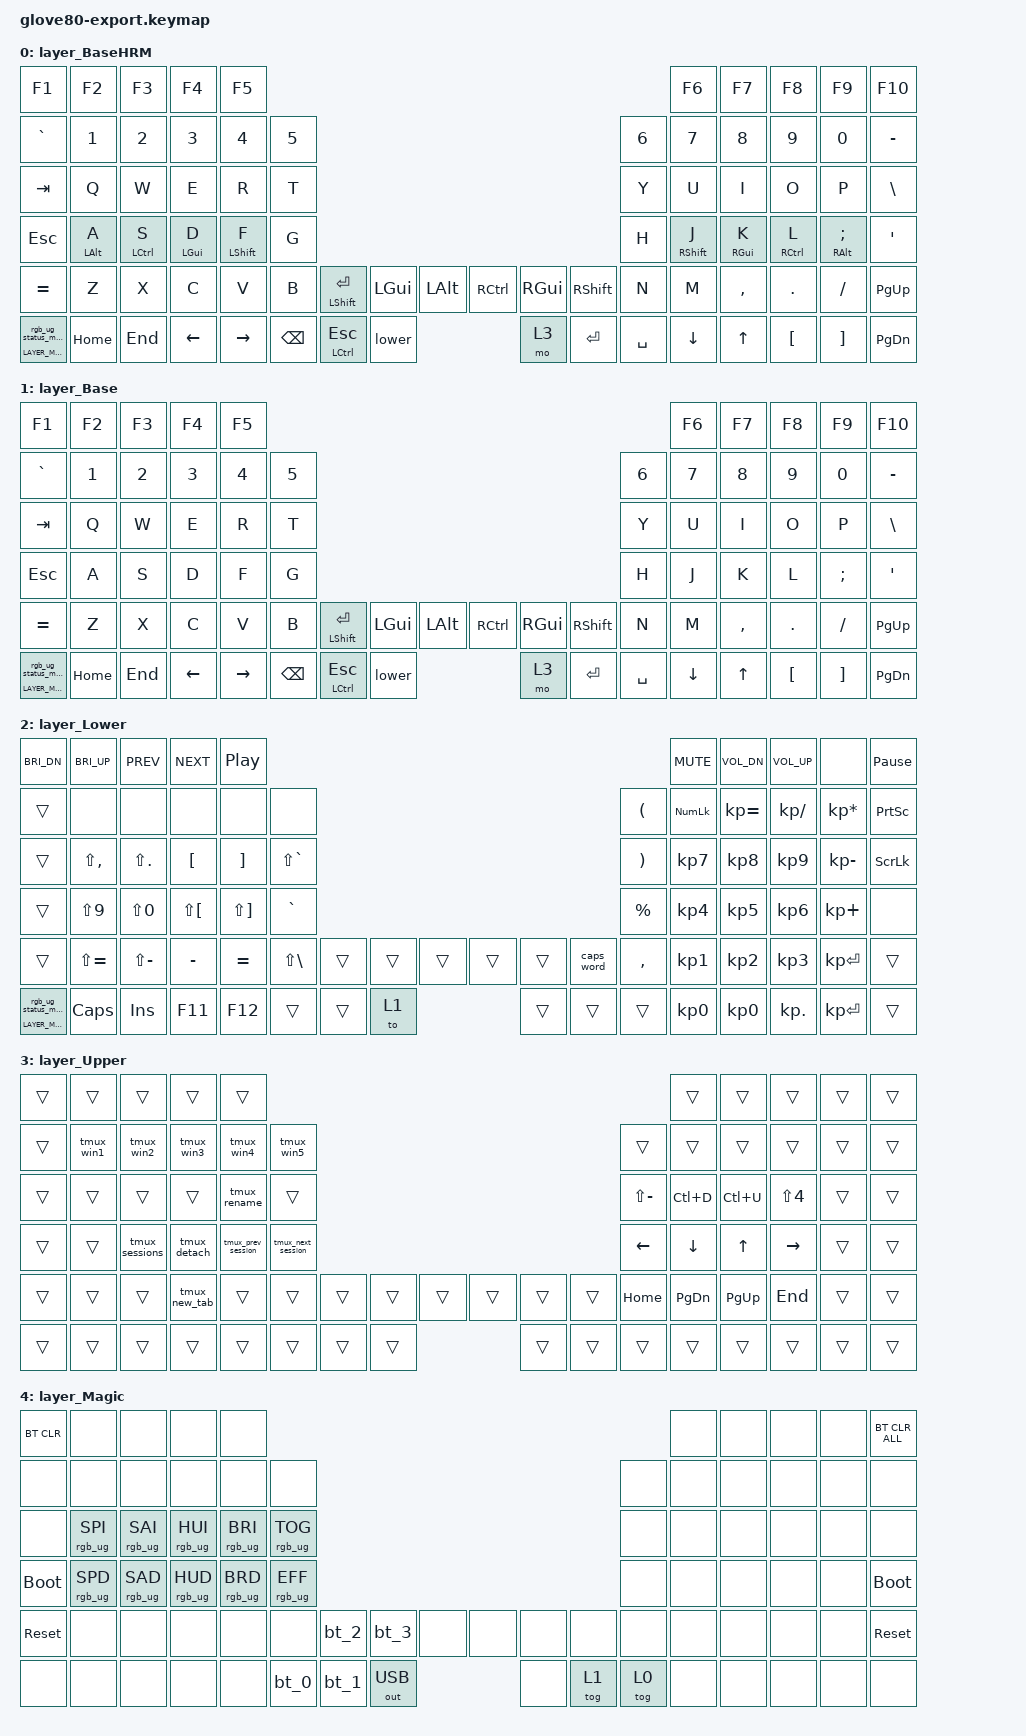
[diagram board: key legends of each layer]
/*
 * Copyright (c) 2020 The ZMK Contributors
 * Copyright (c) 2025 Innaworks Development Limited, trading as MoErgo
 *
 * SPDX-License-Identifier: MIT
 */


/* THIS FILE WAS GENERATED BY GLOVE80 LAYOUT EDITOR
 *
 * This file was generated automatically. You may or may not want to
 * edit it directly.
 */

#include <behaviors.dtsi>
/* Include all behavior includes needed */
#include <dt-bindings/zmk/outputs.h>
#include <dt-bindings/zmk/keys.h>
#include <dt-bindings/zmk/bt.h>
#include <dt-bindings/zmk/rgb.h>

/* On demand includes */


/* Helper Macros, based on https://github.com/urob/zmk-helpers/ */

#pragma once

#define ZMK_HELPER_STRINGIFY(x) #x

// Preprocessor mechanism to overload macros, cf. https://stackoverflow.com/a/27051616/6114651
#define VARGS_(_10, _9, _8, _7, _6, _5, _4, _3, _2, _1, N, ...) N
#define VARGS(...) VARGS_(__VA_ARGS__, 10, 9, 8, 7, 6, 5, 4, 3, 2, 1, 0)
#define CONCAT_(a, b) a##b
#define CONCAT(a, b) CONCAT_(a, b)

#define ZMK_BEHAVIOR_CORE_tap_dance  \
    compatible = "zmk,behavior-tap-dance"; \
    #binding-cells = <0>

#define ZMK_BEHAVIOR(name, type, ...) \
    name: name { \
        ZMK_BEHAVIOR_CORE_ ## type; \
        __VA_ARGS__ \
    };

#define ZMK_TAP_DANCE(name, ...) \
    ZMK_BEHAVIOR(name, tap_dance, __VA_ARGS__)

#define ZMK_TD_LAYER(name, layer) \
    ZMK_TAP_DANCE(name, \
        tapping-term-ms = <200>; \
        bindings = <&mo layer>, <&to layer>; \
)

/* Automatically generated layer name #define */
#define LAYER_BaseHRM 0
#define LAYER_Base 1
#define LAYER_Lower 2
#define LAYER_Upper 3
#define LAYER_Magic 4

/* To deal with the situation where there is no Lower layer, to keep &lower happy */
#ifndef LAYER_Lower
#define LAYER_Lower 0
#endif

/* Custom Device-tree */


/* Input Listeners */


/* System behavior and Macros */
/ {
    behaviors {
        ZMK_TD_LAYER(lower, LAYER_Lower)
    };
};

/ {
    macros {
        rgb_ug_status_macro: rgb_ug_status_macro {
            label = "RGB_UG_STATUS";
            compatible = "zmk,behavior-macro";
            #binding-cells = <0>;
            bindings
                = <&rgb_ug RGB_STATUS>;
        };
    };
};


/ {
#ifdef BT_DISC_CMD
    behaviors {
        bt_0: bt_0 {
            compatible = "zmk,behavior-tap-dance";
            label = "BT_0";
            #binding-cells = <0>;
            tapping-term-ms = <200>;
            bindings = <&bt_select_0>, <&bt BT_DISC 0>;
        };
        bt_1: bt_1 {
            compatible = "zmk,behavior-tap-dance";
            label = "BT_1";
            #binding-cells = <0>;
            tapping-term-ms = <200>;
            bindings = <&bt_select_1>, <&bt BT_DISC 1>;
        };
        bt_2: bt_2 {
            compatible = "zmk,behavior-tap-dance";
            label = "BT_2";
            #binding-cells = <0>;
            tapping-term-ms = <200>;
            bindings = <&bt_select_2>, <&bt BT_DISC 2>;
        };
        bt_3: bt_3 {
            compatible = "zmk,behavior-tap-dance";
            label = "BT_3";
            #binding-cells = <0>;
            tapping-term-ms = <200>;
            bindings = <&bt_select_3>, <&bt BT_DISC 3>;
        };
    };
    macros {
        bt_select_0: bt_select_0 {
            label = "BT_SELECT_0";
            compatible = "zmk,behavior-macro";
            #binding-cells = <0>;
            bindings
                = <&out OUT_BLE>,
                  <&bt BT_SEL 0>;
        };
        bt_select_1: bt_select_1 {
            label = "BT_SELECT_1";
            compatible = "zmk,behavior-macro";
            #binding-cells = <0>;
            bindings
                = <&out OUT_BLE>,
                  <&bt BT_SEL 1>;
        };
        bt_select_2: bt_select_2 {
            label = "BT_SELECT_2";
            compatible = "zmk,behavior-macro";
            #binding-cells = <0>;
            bindings
                = <&out OUT_BLE>,
                  <&bt BT_SEL 2>;
        };
        bt_select_3: bt_select_3 {
            label = "BT_SELECT_3";
            compatible = "zmk,behavior-macro";
            #binding-cells = <0>;
            bindings
                = <&out OUT_BLE>,
                  <&bt BT_SEL 3>;
        };
    };
#else
    macros {
        bt_0: bt_0 {
            label = "BT_0";
            compatible = "zmk,behavior-macro";
            #binding-cells = <0>;
            bindings
                = <&out OUT_BLE>,
                  <&bt BT_SEL 0>;
        };
        bt_1: bt_1 {
            label = "BT_1";
            compatible = "zmk,behavior-macro";
            #binding-cells = <0>;
            bindings
                = <&out OUT_BLE>,
                  <&bt BT_SEL 1>;
        };
        bt_2: bt_2 {
            label = "BT_2";
            compatible = "zmk,behavior-macro";
            #binding-cells = <0>;
            bindings
                = <&out OUT_BLE>,
                  <&bt BT_SEL 2>;
        };
        bt_3: bt_3 {
            label = "BT_3";
            compatible = "zmk,behavior-macro";
            #binding-cells = <0>;
            bindings
                = <&out OUT_BLE>,
                  <&bt BT_SEL 3>;
        };
    };
#endif
};

/ {
    behaviors {
        magic: magic {
            compatible = "zmk,behavior-hold-tap";
            label = "MAGIC_HOLD_TAP";
            #binding-cells = <2>;
            flavor = "tap-preferred";
            tapping-term-ms = <200>;
            bindings = <&mo>, <&rgb_ug_status_macro>;
        };
    };
};

/* #define for key positions */
#define POS_LH_T1 52
#define POS_LH_T2 53
#define POS_LH_T3 54
#define POS_LH_T4 69
#define POS_LH_T5 70
#define POS_LH_T6 71
#define POS_LH_C1R2 15
#define POS_LH_C1R3 27
#define POS_LH_C1R4 39
#define POS_LH_C1R5 51
#define POS_LH_C2R1 4
#define POS_LH_C2R2 14
#define POS_LH_C2R3 26
#define POS_LH_C2R4 38
#define POS_LH_C2R5 50
#define POS_LH_C2R6 68
#define POS_LH_C3R1 3
#define POS_LH_C3R2 13
#define POS_LH_C3R3 25
#define POS_LH_C3R4 37
#define POS_LH_C3R5 49
#define POS_LH_C3R6 67
#define POS_LH_C4R1 2
#define POS_LH_C4R2 12
#define POS_LH_C4R3 24
#define POS_LH_C4R4 36
#define POS_LH_C4R5 48
#define POS_LH_C4R6 66
#define POS_LH_C5R1 1
#define POS_LH_C5R2 11
#define POS_LH_C5R3 23
#define POS_LH_C5R4 35
#define POS_LH_C5R5 47
#define POS_LH_C5R6 65
#define POS_LH_C6R1 0
#define POS_LH_C6R2 10
#define POS_LH_C6R3 22
#define POS_LH_C6R4 34
#define POS_LH_C6R5 46
#define POS_LH_C6R6 64
#define POS_RH_T1 57
#define POS_RH_T2 56
#define POS_RH_T3 55
#define POS_RH_T4 74
#define POS_RH_T5 73
#define POS_RH_T6 72
#define POS_RH_C1R2 16
#define POS_RH_C1R3 28
#define POS_RH_C1R4 40
#define POS_RH_C1R5 58
#define POS_RH_C2R1 5
#define POS_RH_C2R2 17
#define POS_RH_C2R3 29
#define POS_RH_C2R4 41
#define POS_RH_C2R5 59
#define POS_RH_C2R6 75
#define POS_RH_C3R1 6
#define POS_RH_C3R2 18
#define POS_RH_C3R3 30
#define POS_RH_C3R4 42
#define POS_RH_C3R5 60
#define POS_RH_C3R6 76
#define POS_RH_C4R1 7
#define POS_RH_C4R2 19
#define POS_RH_C4R3 31
#define POS_RH_C4R4 43
#define POS_RH_C4R5 61
#define POS_RH_C4R6 77
#define POS_RH_C5R1 8
#define POS_RH_C5R2 20
#define POS_RH_C5R3 32
#define POS_RH_C5R4 44
#define POS_RH_C5R5 62
#define POS_RH_C5R6 78
#define POS_RH_C6R1 9
#define POS_RH_C6R2 21
#define POS_RH_C6R3 33
#define POS_RH_C6R4 45
#define POS_RH_C6R5 63
#define POS_RH_C6R6 79

/* Custom Defined Behaviors */
/ {

};

/* Automatically generated macro definitions */
/ {
    macros {

        // ctl-a 1
        tmux_win1: tmux_win1 {
            label = "&TMUX_WIN1";
            compatible = "zmk,behavior-macro";
            #binding-cells = <0>;
            bindings = <&macro_press>
                , <&kp LCTRL>
                , <&macro_tap>
                , <&kp A>
                , <&macro_release>
                , <&kp LCTRL>
                , <&macro_wait_time 30>
                , <&macro_tap>
                , <&kp N1>;
        };

        // ctl-a 2
        tmux_win2: tmux_win2 {
            label = "&TMUX_WIN2";
            compatible = "zmk,behavior-macro";
            #binding-cells = <0>;
            bindings = <&macro_press>
                , <&kp LCTRL>
                , <&macro_tap>
                , <&kp A>
                , <&macro_release>
                , <&kp LCTRL>
                , <&macro_wait_time 30>
                , <&macro_tap>
                , <&kp N2>;
        };

        // ctl-a 3
        tmux_win3: tmux_win3 {
            label = "&TMUX_WIN3";
            compatible = "zmk,behavior-macro";
            #binding-cells = <0>;
            bindings = <&macro_press>
                , <&kp LCTRL>
                , <&macro_tap>
                , <&kp A>
                , <&macro_release>
                , <&kp LCTRL>
                , <&macro_wait_time 30>
                , <&macro_tap>
                , <&kp N3>;
        };

        // ctl-a c
        tmux_new_tab: tmux_new_tab {
            label = "&TMUX_NEW_TAB";
            compatible = "zmk,behavior-macro";
            #binding-cells = <0>;
            bindings = <&macro_press>
                , <&kp LCTRL>
                , <&macro_tap>
                , <&kp A>
                , <&macro_release>
                , <&kp LCTRL>
                , <&macro_wait_time 30>
                , <&macro_tap>
                , <&kp C>;
        };

        // ctl-a 4
        tmux_win4: tmux_win4 {
            label = "&TMUX_WIN4";
            compatible = "zmk,behavior-macro";
            #binding-cells = <0>;
            bindings = <&macro_press>
                , <&kp LCTRL>
                , <&macro_tap>
                , <&kp A>
                , <&macro_release>
                , <&kp LCTRL>
                , <&macro_wait_time 30>
                , <&macro_tap>
                , <&kp N4>;
        };

        // ctl-a 5
        tmux_win5: tmux_win5 {
            label = "&TMUX_WIN5";
            compatible = "zmk,behavior-macro";
            #binding-cells = <0>;
            bindings = <&macro_press>
                , <&kp LCTRL>
                , <&macro_tap>
                , <&kp A>
                , <&macro_release>
                , <&kp LCTRL>
                , <&macro_wait_time 30>
                , <&macro_tap>
                , <&kp N5>;
        };

        // ctl-a s
        tmux_sessions: tmux_sessions {
            label = "&TMUX_SESSIONS";
            compatible = "zmk,behavior-macro";
            #binding-cells = <0>;
            bindings = <&macro_press>
                , <&kp LCTRL>
                , <&macro_tap>
                , <&kp A>
                , <&macro_release>
                , <&kp LCTRL>
                , <&macro_wait_time 30>
                , <&macro_tap>
                , <&kp S>;
        };

        // ctl-a d
        tmux_detach: tmux_detach {
            label = "&TMUX_DETACH";
            compatible = "zmk,behavior-macro";
            #binding-cells = <0>;
            bindings = <&macro_press>
                , <&kp LCTRL>
                , <&macro_tap>
                , <&kp A>
                , <&macro_release>
                , <&kp LCTRL>
                , <&macro_wait_time 30>
                , <&macro_tap>
                , <&kp D>;
        };

        // ctl-a $
        tmux_rename: tmux_rename {
            label = "&TMUX_RENAME";
            compatible = "zmk,behavior-macro";
            #binding-cells = <0>;
            bindings = <&macro_press>
                , <&kp LCTRL>
                , <&macro_tap>
                , <&kp A>
                , <&macro_release>
                , <&kp LCTRL>
                , <&macro_wait_time 30>
                , <&macro_tap>
                , <&kp LS(N4)>;
        };

        // ctl-a (
        tmux_prev_session: tmux_prev_session {
            label = "&TMUX_PREV_SESSION";
            compatible = "zmk,behavior-macro";
            #binding-cells = <0>;
            bindings = <&macro_press>
                , <&kp LCTRL>
                , <&macro_tap>
                , <&kp A>
                , <&macro_release>
                , <&kp LCTRL>
                , <&macro_wait_time 30>
                , <&macro_tap>
                , <&kp LS(N9)>;
        };

        // ctl-a )
        tmux_next_session: tmux_next_session {
            label = "&TMUX_NEXT_SESSION";
            compatible = "zmk,behavior-macro";
            #binding-cells = <0>;
            bindings = <&macro_press>
                , <&kp LCTRL>
                , <&macro_tap>
                , <&kp A>
                , <&macro_release>
                , <&kp LCTRL>
                , <&macro_wait_time 30>
                , <&macro_tap>
                , <&kp LS(N0)>;
        };
    };
};

/* Automatically generated behavior definitions */
/ {
    behaviors {


        mt_slow: mt_slow {
            compatible = "zmk,behavior-hold-tap";
            #binding-cells = <2>;
            tapping-term-ms = <200>;
            bindings = <&kp>, <&kp>;
            flavor = "balanced";
            quick-tap-ms = <150>;
            hold-trigger-key-positions = <>;
        };
    };
};

/* Automatically generated combos definitions */


/* Automatically generated keymap */
/ {
    keymap {
        compatible = "zmk,keymap";


        layer_BaseHRM {
            bindings = <
               &kp F1           &kp F2            &kp F3           &kp F4            &kp F5                                                                                                    &kp F6           &kp F7            &kp F8              &kp F9    &kp F10
            &kp GRAVE           &kp N1            &kp N2           &kp N3            &kp N4  &kp N5                                                                          &kp N6            &kp N7           &kp N8            &kp N9              &kp N0  &kp MINUS
              &kp TAB            &kp Q             &kp W            &kp E             &kp R   &kp T                                                                           &kp Y             &kp U            &kp I             &kp O               &kp P   &kp BSLH
              &kp ESC  &mt_slow LALT A  &mt_slow LCTRL S  &mt_slow LGUI D  &mt_slow LSHFT F   &kp G                                                                           &kp H  &mt_slow RSHFT J  &mt_slow RGUI K  &mt_slow RCTRL L  &mt_slow RALT SEMI    &kp SQT
            &kp EQUAL            &kp Z             &kp X            &kp C             &kp V   &kp B  &mt LSHFT RET       &kp LGUI  &kp LALT  &kp RCTRL  &kp RGUI  &kp RSHFT   &kp N             &kp M        &kp COMMA           &kp DOT            &kp FSLH  &kp PG_UP
 &magic LAYER_Magic 0         &kp HOME           &kp END         &kp LEFT         &kp RIGHT               &kp BSPC  &mt LCTRL ESC    &lower      &mo 3   &kp RET  &kp SPACE                  &kp DOWN           &kp UP          &kp LBKT            &kp RBKT  &kp PG_DN
            >;
        };

        layer_Base {
            bindings = <
               &kp F1    &kp F2   &kp F3    &kp F4     &kp F5                                                                                            &kp F6     &kp F7    &kp F8    &kp F9    &kp F10
            &kp GRAVE    &kp N1   &kp N2    &kp N3     &kp N4  &kp N5                                                                          &kp N6    &kp N7     &kp N8    &kp N9    &kp N0  &kp MINUS
              &kp TAB     &kp Q    &kp W     &kp E      &kp R   &kp T                                                                           &kp Y     &kp U      &kp I     &kp O     &kp P   &kp BSLH
              &kp ESC     &kp A    &kp S     &kp D      &kp F   &kp G                                                                           &kp H     &kp J      &kp K     &kp L  &kp SEMI    &kp SQT
            &kp EQUAL     &kp Z    &kp X     &kp C      &kp V   &kp B  &mt LSHFT RET       &kp LGUI  &kp LALT  &kp RCTRL  &kp RGUI  &kp RSHFT   &kp N     &kp M  &kp COMMA   &kp DOT  &kp FSLH  &kp PG_UP
 &magic LAYER_Magic 0  &kp HOME  &kp END  &kp LEFT  &kp RIGHT               &kp BSPC  &mt LCTRL ESC    &lower      &mo 3   &kp RET  &kp SPACE          &kp DOWN     &kp UP  &kp LBKT  &kp RBKT  &kp PG_DN
            >;
        };

        layer_Lower {
            bindings = <
         &kp C_BRI_DN   &kp C_BRI_UP     &kp C_PREV    &kp C_NEXT      &kp C_PP                                                                                            &kp C_MUTE  &kp C_VOL_DN  &kp C_VOL_UP            &none  &kp PAUSE_BREAK
               &trans          &none          &none         &none         &none          &none                                                       &kp LEFT_PARENTHESIS  &kp KP_NUM  &kp KP_EQUAL  &kp KP_SLASH  &kp KP_MULTIPLY  &kp PRINTSCREEN
               &trans  &kp LS(COMMA)    &kp LS(DOT)      &kp LBKT      &kp RBKT  &kp LS(GRAVE)                                                      &kp RIGHT_PARENTHESIS   &kp KP_N7     &kp KP_N8     &kp KP_N9     &kp KP_MINUS   &kp SCROLLLOCK
               &trans     &kp LS(N9)     &kp LS(N0)  &kp LS(LBKT)  &kp LS(RBKT)      &kp GRAVE                                                                &kp PERCENT   &kp KP_N4     &kp KP_N5     &kp KP_N6      &kp KP_PLUS            &none
               &trans  &kp LS(EQUAL)  &kp LS(MINUS)     &kp MINUS     &kp EQUAL   &kp LS(BSLH)  &trans  &trans  &trans  &trans  &trans  &caps_word              &kp COMMA   &kp KP_N1     &kp KP_N2     &kp KP_N3     &kp KP_ENTER           &trans
 &magic LAYER_Magic 0       &kp CAPS        &kp INS       &kp F11       &kp F12                 &trans  &trans   &to 1  &trans  &trans      &trans                          &kp KP_N0     &kp KP_N0    &kp KP_DOT     &kp KP_ENTER           &trans
            >;
        };

        layer_Upper {
            bindings = <
 &trans      &trans          &trans         &trans              &trans                                                                                        &trans     &trans      &trans  &trans  &trans
 &trans  &tmux_win1      &tmux_win2     &tmux_win3          &tmux_win4          &tmux_win5                                                         &trans     &trans     &trans      &trans  &trans  &trans
 &trans      &trans          &trans         &trans        &tmux_rename              &trans                                                  &kp LS(MINUS)  &kp LC(D)  &kp LC(U)  &kp LS(N4)  &trans  &trans
 &trans      &trans  &tmux_sessions   &tmux_detach  &tmux_prev_session  &tmux_next_session                                                       &kp LEFT   &kp DOWN     &kp UP   &kp RIGHT  &trans  &trans
 &trans      &trans          &trans  &tmux_new_tab              &trans              &trans  &trans  &trans  &trans  &trans  &trans  &trans       &kp HOME  &kp PG_DN  &kp PG_UP     &kp END  &trans  &trans
 &trans      &trans          &trans         &trans              &trans                      &trans  &trans  &trans  &trans  &trans  &trans                    &trans     &trans      &trans  &trans  &trans
            >;
        };

        layer_Magic {
            bindings = <
  &bt BT_CLR            &none            &none            &none            &none                                                                                  &none   &none   &none   &none  &bt BT_CLR_ALL
       &none            &none            &none            &none            &none            &none                                                         &none   &none   &none   &none   &none           &none
       &none  &rgb_ug RGB_SPI  &rgb_ug RGB_SAI  &rgb_ug RGB_HUI  &rgb_ug RGB_BRI  &rgb_ug RGB_TOG                                                         &none   &none   &none   &none   &none           &none
 &bootloader  &rgb_ug RGB_SPD  &rgb_ug RGB_SAD  &rgb_ug RGB_HUD  &rgb_ug RGB_BRD  &rgb_ug RGB_EFF                                                         &none   &none   &none   &none   &none     &bootloader
  &sys_reset            &none            &none            &none            &none            &none   &bt_2   &bt_3         &none   &none   &none   &none   &none   &none   &none   &none   &none      &sys_reset
       &none            &none            &none            &none            &none                    &bt_0   &bt_1  &out OUT_USB   &none  &tog 1  &tog 0           &none   &none   &none   &none           &none
            >;
        };

    };
};
